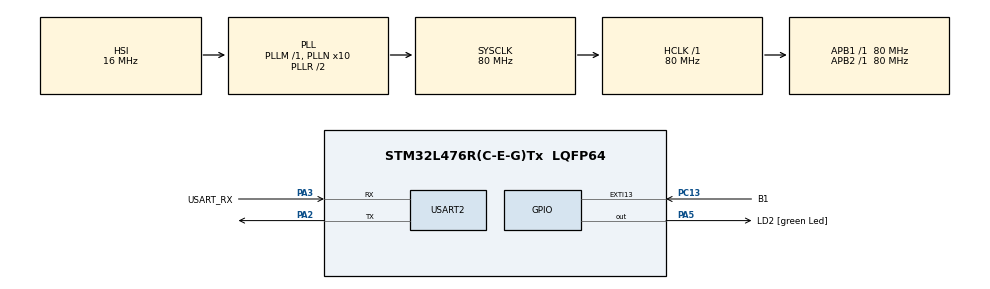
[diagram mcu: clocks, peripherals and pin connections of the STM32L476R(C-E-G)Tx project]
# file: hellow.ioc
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Mcu.Family=STM32L4
Mcu.Name=STM32L476R(C-E-G)Tx
Mcu.Package=LQFP64
NVIC.PriorityGroup=NVIC_PRIORITYGROUP_4
PA13\ (JTMS-SWDIO).GPIO_Label=TMS
PA13\ (JTMS-SWDIO).Mode=Serial_Wire
PA13\ (JTMS-SWDIO).Signal=SYS_JTMS-SWDIO
PA14\ (JTCK-SWCLK).GPIO_Label=TCK
PA14\ (JTCK-SWCLK).Mode=Serial_Wire
PA14\ (JTCK-SWCLK).Signal=SYS_JTCK-SWCLK
PA2.Mode=Asynchronous
PA2.Signal=USART2_TX
PA3.GPIO_Label=USART_RX
PA3.GPIO_Mode=GPIO_MODE_AF_PP
PA3.GPIO_PuPd=GPIO_NOPULL
PA3.GPIO_Speed=GPIO_SPEED_FREQ_VERY_HIGH
PA3.Mode=Asynchronous
PA3.Signal=USART2_RX
PA5.GPIO_Label=LD2 [green Led]
PA5.GPIO_ModeDefaultOutputPP=GPIO_MODE_OUTPUT_PP
PA5.GPIO_PuPd=GPIO_NOPULL
PA5.GPIO_Speed=GPIO_SPEED_FREQ_LOW
PA5.Signal=GPIO_Output
PB3\ (JTDO-TRACESWO).GPIO_Label=SWO
PB3\ (JTDO-TRACESWO).Signal=SYS_JTDO-SWO
PC13.GPIO_Label=B1
PC13.Signal=GPXTI13
PC14-OSC32_IN\ (PC14).Mode=LSE-External-Oscillator
PC14-OSC32_IN\ (PC14).Signal=RCC_OSC32_IN
PC15-OSC32_OUT\ (PC15).Mode=LSE-External-Oscillator
PC15-OSC32_OUT\ (PC15).Signal=RCC_OSC32_OUT
PH0-OSC_IN\ (PH0).Signal=RCC_OSC_IN
PH1-OSC_OUT\ (PH1).Signal=RCC_OSC_OUT
ProjectManager.HeapSize=0x200
ProjectManager.StackSize=0x400
ProjectManager.TargetToolchain=STM32CubeIDE
RCC.ADCFreq_Value=64000000
RCC.AHBFreq_Value=80000000
RCC.APB1Freq_Value=80000000
RCC.APB1TimFreq_Value=80000000
RCC.APB2Freq_Value=80000000
RCC.APB2TimFreq_Value=80000000
RCC.CortexFreq_Value=80000000
RCC.HCLKFreq_Value=80000000
RCC.HSE_VALUE=8000000
RCC.HSI_VALUE=16000000
RCC.MSI_VALUE=4000000
RCC.PLLN=10
RCC.PLLSourceVirtual=RCC_PLLSOURCE_HSI
RCC.PREFETCH_ENABLE=1
RCC.SYSCLKFreq_VALUE=80000000
RCC.SYSCLKSource=RCC_SYSCLKSOURCE_PLLCLK
RCC.USBFreq_Value=64000000
RCC.VCOOutputFreq_Value=160000000
USART2.VirtualMode-Asynchronous=VM_ASYNC
board=NUCLEO-L476RG

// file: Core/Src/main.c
/* USER CODE BEGIN Header */
/**
  ******************************************************************************
  * @file           : main.c
  * @brief          : Main program body
  ******************************************************************************
  * @attention
  *
  * Copyright (c) 2022 STMicroelectronics.
  * All rights reserved.
  *
  * This software is licensed under terms that can be found in the LICENSE file
  * in the root directory of this software component.
  * If no LICENSE file comes with this software, it is provided AS-IS.
  *
  ******************************************************************************
  */
/* USER CODE END Header */
#include "main.h"

/* USER CODE BEGIN Includes */
#include <stdio.h>
#include <string.h>

/* USER CODE END Includes */

 UART_HandleTypeDef huart2;

void SystemClock_Config(void);
static void MX_GPIO_Init(void);
static void MX_USART2_UART_Init(void);
//void dotodo(char *buf);
//int isOrderValid(char *buf);
void LedManager(int start,int blink);
int getblink(char *buf);
/* USER CODE BEGIN PFP */
#define PUTCHAR_PROTOTYPE int __io_putchar(int ch)
/* USER CODE END PFP */

/* USER CODE BEGIN 0 */

/////////////////////////////////////////////////////////////////////////
// Led task definitions and functions
/////////////////////////////////////////////////////////////////////////

enum LedTaskState
{
 LedOn,
 LedOff,
};

enum LedTaskState ledState;
int ledCount;
int ledMaxCount;

void ledTask()
{
 if (ledState == LedOn)
 {
  if (ledCount++ >= ledMaxCount)
  {
   HAL_GPIO_TogglePin(LD2_GPIO_Port, LD2_Pin);
   ledCount = 0;
  }
 }
 else if (ledState == LedOff)
 {
  //HAL_GPIO_WritePin(LD2_GPIO_Port, LD2_Pin, 0);
 }
}

void ledStart(int maxCount)
{
 ledState = LedOn;
 ledMaxCount = maxCount;
}

void ledStop()
{
 ledState = LedOff;
 HAL_GPIO_WritePin(LD2_GPIO_Port, LD2_Pin, 0);
}

/////////////////////////////////////////////////////////////////////////
// Communication task definitions and functions
/////////////////////////////////////////////////////////////////////////

#define MAX_BUFFER_LENGTH 100

uint8_t cmdbuffer[MAX_BUFFER_LENGTH];
int cmdcount = 0;

int commTask()
{
 uint8_t ch;

 HAL_StatusTypeDef Status = HAL_UART_Receive(&huart2, &ch, 1, 0);
 if (Status != HAL_OK) {
  return 0;
 }

 if (ch != '\r' && ch != '\n')
 {
  HAL_UART_Transmit(&huart2, &ch, 1, 0xFFFF);

  if (cmdcount >= MAX_BUFFER_LENGTH)
  {
   cmdcount = 0;
  }

  cmdbuffer[cmdcount++] = ch;
  return 0;
 }

 HAL_UART_Transmit(&huart2, (uint8_t*)"\r\n", 2, 0xFFFF);

 cmdbuffer[cmdcount] = 0;
 cmdcount = 0;
 return 1;
}

/////////////////////////////////////////////////////////////////////////
// REdirecting printf to UART
/////////////////////////////////////////////////////////////////////////
/*int _write(int fd, char* ptr, int len) {
    HAL_UART_Transmit(&huart2, (uint8_t *) ptr, len, HAL_MAX_DELAY);
    return len;
}*/

void handleCommand()
{
  char cmd[20];
  int maxCount;

  int params = sscanf((const char*)cmdbuffer, "%s %d", cmd, &maxCount);

  if (params == 0)
  {
   return;
  }

  if (strcmp(cmd, "start") == 0)
  {
   ledStart(maxCount);
  }
  else if (strcmp(cmd, "stop") == 0)
  {
   ledStop();
  }
  else
  {
   printf("Invalid command\r\n");
  }
}

/* USER CODE END 0 */

int main(void)
{

  /* MCU Configuration--------------------------------------------------------*/

  /* Reset of all peripherals, Initializes the Flash interface and the Systick. */
  HAL_Init();

  /* Configure the system clock */
  SystemClock_Config();

  /* Initialize all configured peripherals */
  MX_GPIO_Init();
  MX_USART2_UART_Init();
  /* USER CODE BEGIN 2 */
  /*
  int i = 0;
  char buf[100] = {0};
  uint8_t ch;
  int start = 0;

  int blink = 0;*/
  /* USER CODE END 2 */

  /* Infinite loop */
  while (1)
  {

    /* USER CODE BEGIN 3 */
	  ledTask();
	   if (commTask())
	   {
	    handleCommand();
	   }
	  }

	 /* if(HAL_UART_Receive(&huart2, &ch, 1, 1)== HAL_OK){

		  if(ch == '\r'){
			  i=0;
			  if(strncmp(buf,"start",5) == 1){
				  start = 1;
				  blink = getblink(buf);
			  }else{
				  if(strncmp(buf,"stop",4) == 1){
					  start = 0;
				  }
			  }
			  LedManager(start,blink);

			  printf("\n\r");
		  }
		  if(i<100){
			  buf[i] = ch;

			  }
			  HAL_UART_Transmit(&huart2, &ch, 1, 1);
			  i++;
		  }*/

		  		/*buf[i] = ch;
		  		i++;

		  		if(ch == '\n' || ch == '\r'){
		  			i=0;
		  			dotodo(buf);

		  		}*/
		  	//  }

	/*  printf("hello world\n\r");
	  HAL_Delay(1000);*/
	  /*
	  if(HAL_GPIO_ReadPin(B1_GPIO_Port, B1_Pin)){
		  HAL_UART_Transmit(&huart2, "hello\n\r",7, 1000);
	  }else{
		  HAL_UART_Transmit(&huart2, "bay\n\r",5, 1000);

	  }
	  HAL_Delay(500);
	  */
	 // HAL_GPIO_TogglePin(GPIOx, GPIO_Pin)
	  /*if(HAL_GPIO_ReadPin(B1_GPIO_Port, B1_Pin)){
		 HAL_GPIO_WritePin(LD2_GPIO_Port, LD2_Pin, 1);
	  }else{
		  HAL_GPIO_WritePin(LD2_GPIO_Port, LD2_Pin, 0);
	  }*/

//  }
  /* USER CODE END 3 */
}
/*int getblink(char *buf){
	return 1000;
}
void LedManager(int start,int blink){
	if(start == 1){
		HAL_GPIO_TogglePin(LD2_GPIO_Port,  LD2_Pin);
	}else{
		HAL_GPIO_WritePin(LD2_GPIO_Port, LD2_Pin, 0);
	}
}*/
/*int isOrderValid(char *buf) {
	char ch[20];
	while(*buf != '/0'){
		ch[i] = *buf;

	}
	int bRet = 0;
	do {
		if (*buf == 's') {
			bRet = 1;
			break;
		}
		if (*buf == 'st') {
			bRet = 1;
			break;
		}
		if (*buf == 'sta') {
			bRet = 1;
			break;
		}
		if (*buf == 'star') {
			bRet = 1;
			break;
		}
		if (*buf == 'start') {
			bRet = 1;
			break;
		}
	} while (0);
	return bRet;
}*/
/*void dotodo(char *buf){
	 printf("%s\n\r",buf);
}*/

void SystemClock_Config(void)
{
  RCC_OscInitTypeDef RCC_OscInitStruct = {0};
  RCC_ClkInitTypeDef RCC_ClkInitStruct = {0};

  /** Configure the main internal regulator output voltage
  */
  if (HAL_PWREx_ControlVoltageScaling(PWR_REGULATOR_VOLTAGE_SCALE1) != HAL_OK)
  {
    Error_Handler();
  }

  /** Initializes the RCC Oscillators according to the specified parameters
  * in the RCC_OscInitTypeDef structure.
  */
  RCC_OscInitStruct.OscillatorType = RCC_OSCILLATORTYPE_HSI;
  RCC_OscInitStruct.HSIState = RCC_HSI_ON;
  RCC_OscInitStruct.HSICalibrationValue = RCC_HSICALIBRATION_DEFAULT;
  RCC_OscInitStruct.PLL.PLLState = RCC_PLL_ON;
  RCC_OscInitStruct.PLL.PLLSource = RCC_PLLSOURCE_HSI;
  RCC_OscInitStruct.PLL.PLLM = 1;
  RCC_OscInitStruct.PLL.PLLN = 10;
  RCC_OscInitStruct.PLL.PLLP = RCC_PLLP_DIV7;
  RCC_OscInitStruct.PLL.PLLQ = RCC_PLLQ_DIV2;
  RCC_OscInitStruct.PLL.PLLR = RCC_PLLR_DIV2;
  if (HAL_RCC_OscConfig(&RCC_OscInitStruct) != HAL_OK)
  {
    Error_Handler();
  }

  /** Initializes the CPU, AHB and APB buses clocks
  */
  RCC_ClkInitStruct.ClockType = RCC_CLOCKTYPE_HCLK|RCC_CLOCKTYPE_SYSCLK
                              |RCC_CLOCKTYPE_PCLK1|RCC_CLOCKTYPE_PCLK2;
  RCC_ClkInitStruct.SYSCLKSource = RCC_SYSCLKSOURCE_PLLCLK;
  RCC_ClkInitStruct.AHBCLKDivider = RCC_SYSCLK_DIV1;
  RCC_ClkInitStruct.APB1CLKDivider = RCC_HCLK_DIV1;
  RCC_ClkInitStruct.APB2CLKDivider = RCC_HCLK_DIV1;

  if (HAL_RCC_ClockConfig(&RCC_ClkInitStruct, FLASH_LATENCY_4) != HAL_OK)
  {
    Error_Handler();
  }
}

static void MX_USART2_UART_Init(void)
{

  huart2.Instance = USART2;
  huart2.Init.BaudRate = 115200;
  huart2.Init.WordLength = UART_WORDLENGTH_8B;
  huart2.Init.StopBits = UART_STOPBITS_1;
  huart2.Init.Parity = UART_PARITY_NONE;
  huart2.Init.Mode = UART_MODE_TX_RX;
  huart2.Init.HwFlowCtl = UART_HWCONTROL_NONE;
  huart2.Init.OverSampling = UART_OVERSAMPLING_16;
  huart2.Init.OneBitSampling = UART_ONE_BIT_SAMPLE_DISABLE;
  huart2.AdvancedInit.AdvFeatureInit = UART_ADVFEATURE_NO_INIT;
  if (HAL_UART_Init(&huart2) != HAL_OK)
  {
    Error_Handler();
  }

}

static void MX_GPIO_Init(void)
{
  GPIO_InitTypeDef GPIO_InitStruct = {0};

  /* GPIO Ports Clock Enable */
  __HAL_RCC_GPIOC_CLK_ENABLE();
  __HAL_RCC_GPIOH_CLK_ENABLE();
  __HAL_RCC_GPIOA_CLK_ENABLE();
  __HAL_RCC_GPIOB_CLK_ENABLE();

  /*Configure GPIO pin Output Level */
  HAL_GPIO_WritePin(LD2_GPIO_Port, LD2_Pin, GPIO_PIN_RESET);

  /*Configure GPIO pin : B1_Pin */
  GPIO_InitStruct.Pin = B1_Pin;
  GPIO_InitStruct.Mode = GPIO_MODE_IT_RISING;
  GPIO_InitStruct.Pull = GPIO_NOPULL;
  HAL_GPIO_Init(B1_GPIO_Port, &GPIO_InitStruct);

  /*Configure GPIO pin : LD2_Pin */
  GPIO_InitStruct.Pin = LD2_Pin;
  GPIO_InitStruct.Mode = GPIO_MODE_OUTPUT_PP;
  GPIO_InitStruct.Pull = GPIO_NOPULL;
  GPIO_InitStruct.Speed = GPIO_SPEED_FREQ_LOW;
  HAL_GPIO_Init(LD2_GPIO_Port, &GPIO_InitStruct);

}

/* USER CODE BEGIN 4 */
PUTCHAR_PROTOTYPE
{
  /* Place your implementation of fputc here */
  /* e.g. write a character to the USART1 and Loop until the end of transmission */
  HAL_UART_Transmit(&huart2, (uint8_t *)&ch, 1, 0xFFFF);

  return ch;
}

/* USER CODE END 4 */

void Error_Handler(void)
{
  __disable_irq();
  while (1)
  {
  }
}
